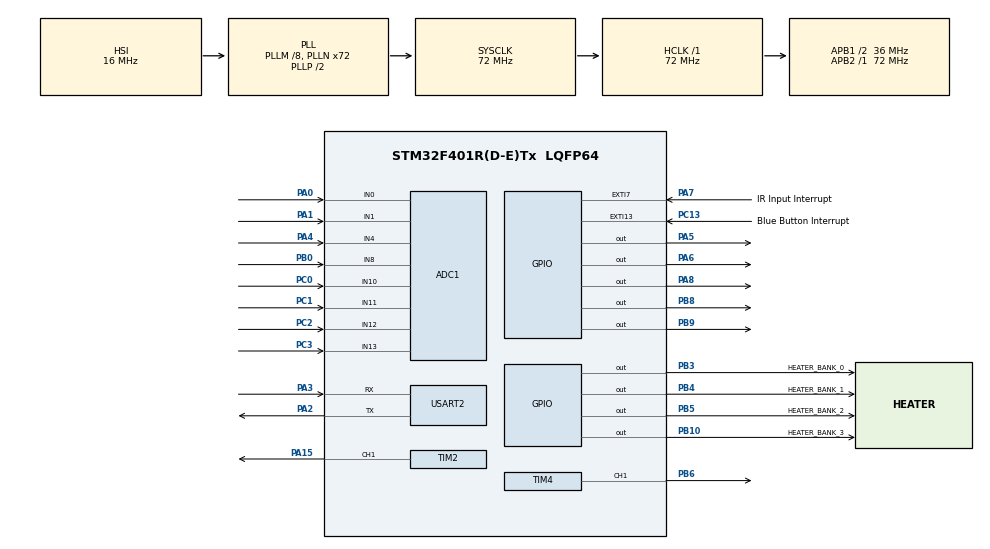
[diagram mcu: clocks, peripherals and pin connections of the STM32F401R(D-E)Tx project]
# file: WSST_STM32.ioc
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ADC1.Channel-0\#ChannelRegularConversion=ADC_CHANNEL_0
ADC1.Channel-1\#ChannelRegularConversion=ADC_CHANNEL_1
ADC1.Channel-2\#ChannelRegularConversion=ADC_CHANNEL_4
ADC1.Channel-3\#ChannelRegularConversion=ADC_CHANNEL_8
ADC1.Channel-4\#ChannelRegularConversion=ADC_CHANNEL_10
ADC1.Channel-5\#ChannelRegularConversion=ADC_CHANNEL_11
ADC1.Channel-6\#ChannelRegularConversion=ADC_CHANNEL_12
ADC1.Channel-7\#ChannelRegularConversion=ADC_CHANNEL_13
ADC1.DiscontinuousConvMode=ENABLE
ADC1.InjNumberOfConversion=0
ADC1.NbrOfConversion=8
ADC1.NbrOfConversionFlag=1
ADC1.Rank-0\#ChannelRegularConversion=1
ADC1.Rank-1\#ChannelRegularConversion=2
ADC1.Rank-2\#ChannelRegularConversion=3
ADC1.Rank-3\#ChannelRegularConversion=4
ADC1.Rank-4\#ChannelRegularConversion=5
ADC1.Rank-5\#ChannelRegularConversion=6
ADC1.Rank-6\#ChannelRegularConversion=7
ADC1.Rank-7\#ChannelRegularConversion=8
ADC1.SamplingTime-0\#ChannelRegularConversion=ADC_SAMPLETIME_3CYCLES
ADC1.SamplingTime-1\#ChannelRegularConversion=ADC_SAMPLETIME_3CYCLES
ADC1.SamplingTime-2\#ChannelRegularConversion=ADC_SAMPLETIME_3CYCLES
ADC1.SamplingTime-3\#ChannelRegularConversion=ADC_SAMPLETIME_3CYCLES
ADC1.SamplingTime-4\#ChannelRegularConversion=ADC_SAMPLETIME_3CYCLES
ADC1.SamplingTime-5\#ChannelRegularConversion=ADC_SAMPLETIME_3CYCLES
ADC1.SamplingTime-6\#ChannelRegularConversion=ADC_SAMPLETIME_3CYCLES
ADC1.SamplingTime-7\#ChannelRegularConversion=ADC_SAMPLETIME_3CYCLES
ADC1.ScanConvMode=ENABLE
ADC1.master=1
FREERTOS.Tasks01=defaultTask,0,128,StartDefaultTask,Default,NULL,Dynamic,NULL,NULL;readSensors,0,128,startReadSensors,Default,NULL,Dynamic,NULL,NULL;bangBangControl,3,128,StartBangBangControl,Default,NULL,Dynamic,NULL,NULL;communicationTa,0,1024,StartComTask,Default,NULL,Dynamic,NULL,NULL;motorTask,0,128,startMotorTask,Default,NULL,Dynamic,NULL,NULL;messageHanldlerTask,0,256,StartMessageHandlerTask,Default,NULL,Dynamic,NULL,NULL
FREERTOS.configENABLE_FPU=1
FREERTOS.configMAX_TASK_NAME_LEN=32
FREERTOS.configUSE_NEWLIB_REENTRANT=1
Mcu.Family=STM32F4
Mcu.Name=STM32F401R(D-E)Tx
Mcu.Package=LQFP64
NVIC.EXTI15_10_IRQn=true\:5\:0\:false\:false\:true\:true\:true\:true\:true
NVIC.EXTI9_5_IRQn=true\:5\:0\:false\:false\:true\:true\:true\:true\:true
NVIC.PriorityGroup=NVIC_PRIORITYGROUP_4
NVIC.TIM1_UP_TIM10_IRQn=true\:15\:0\:false\:false\:true\:false\:false\:true\:true
NVIC.TimeBase=TIM1_UP_TIM10_IRQn
NVIC.TimeBaseIP=TIM1
NVIC.USART2_IRQn=true\:5\:0\:false\:false\:true\:true\:true\:true\:true
PA0-WKUP.Signal=ADCx_IN0
PA1.Signal=ADCx_IN1
PA15.Signal=S_TIM2_CH1_ETR
PA2.Mode=Asynchronous
PA2.Signal=USART2_TX
PA3.Mode=Asynchronous
PA3.Signal=USART2_RX
PA4.Signal=ADCx_IN4
PA5.Signal=GPIO_Output
PA6.Signal=GPIO_Output
PA7.GPIO_Label=IR Input Interrupt
PA7.GPIO_ModeDefaultEXTI=GPIO_MODE_IT_FALLING
PA7.GPIO_PuPd=GPIO_PULLUP
PA7.Signal=GPXTI7
PA8.Signal=GPIO_Output
PB0.Signal=ADCx_IN8
PB10.GPIO_Label=HEATER_BANK_3
PB10.Signal=GPIO_Output
PB3.GPIO_Label=HEATER_BANK_0
PB3.Signal=GPIO_Output
PB4.GPIO_Label=HEATER_BANK_1
PB4.Signal=GPIO_Output
PB5.GPIO_Label=HEATER_BANK_2
PB5.Signal=GPIO_Output
PB6.Signal=S_TIM4_CH1
PB8.Signal=GPIO_Output
PB9.Signal=GPIO_Output
PC0.Signal=ADCx_IN10
PC1.Signal=ADCx_IN11
PC13-ANTI_TAMP.GPIO_Label=Blue Button Interrupt
PC13-ANTI_TAMP.GPIO_ModeDefaultEXTI=GPIO_MODE_IT_FALLING
PC13-ANTI_TAMP.GPIO_PuPd=GPIO_PULLUP
PC13-ANTI_TAMP.Signal=GPXTI13
PC2.Signal=ADCx_IN12
PC3.Signal=ADCx_IN13
ProjectManager.HeapSize=0x200
ProjectManager.StackSize=0x400
ProjectManager.TargetToolchain=STM32CubeIDE
RCC.48MHZClocksFreq_Value=36000000
RCC.AHBFreq_Value=72000000
RCC.APB1CLKDivider=RCC_HCLK_DIV2
RCC.APB1Freq_Value=36000000
RCC.APB1TimFreq_Value=72000000
RCC.APB2Freq_Value=72000000
RCC.APB2TimFreq_Value=72000000
RCC.CortexFreq_Value=72000000
RCC.HCLKFreq_Value=72000000
RCC.HSE_VALUE=25000000
RCC.HSI_VALUE=16000000
RCC.LSE_VALUE=32768
RCC.PLLM=8
RCC.PLLN=72
RCC.SYSCLKFreq_VALUE=72000000
RCC.SYSCLKSource=RCC_SYSCLKSOURCE_PLLCLK
RCC.VCOOutputFreq_Value=144000000
SH.ADCx_IN0.0=ADC1_IN0,IN0
SH.ADCx_IN1.0=ADC1_IN1,IN1
SH.ADCx_IN10.0=ADC1_IN10,IN10
SH.ADCx_IN11.0=ADC1_IN11,IN11
SH.ADCx_IN12.0=ADC1_IN12,IN12
SH.ADCx_IN13.0=ADC1_IN13,IN13
SH.ADCx_IN4.0=ADC1_IN4,IN4
SH.ADCx_IN8.0=ADC1_IN8,IN8
SH.S_TIM2_CH1_ETR.0=TIM2_CH1,PWM Generation1 CH1
SH.S_TIM4_CH1.0=TIM4_CH1,PWM Generation1 CH1
TIM2.Channel-PWM\ Generation1\ CH1=TIM_CHANNEL_1
TIM2.Period=999
TIM2.Prescaler=71
TIM4.Channel-PWM\ Generation1\ CH1=TIM_CHANNEL_1
TIM4.Period=255
USART2.VirtualMode=VM_ASYNC
VP_FREERTOS_VS_CMSIS_V1.Mode=CMSIS_V1
VP_SYS_VS_tim1.Mode=TIM1
board=custom

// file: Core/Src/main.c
/* USER CODE BEGIN Header */
/**
  ******************************************************************************
  * @file           : main.c
  * @brief          : Main program body
  ******************************************************************************
  * @attention
  *
  * Copyright (c) 2024 STMicroelectronics.
  * All rights reserved.
  *
  * This software is licensed under terms that can be found in the LICENSE file
  * in the root directory of this software component.
  * If no LICENSE file comes with this software, it is provided AS-IS.
  *
  ******************************************************************************
  */
/* USER CODE END Header */
#include "main.h"
#include "cmsis_os.h"

ADC_HandleTypeDef hadc1;

TIM_HandleTypeDef htim2;
TIM_HandleTypeDef htim4;

UART_HandleTypeDef huart2;

osThreadId defaultTaskHandle;
osThreadId readSensorsHandle;
osThreadId bangBangControlHandle;
osThreadId communicationTaHandle;
osThreadId motorTaskHandle;
osThreadId messageHanldlerTaskHandle;
/* USER CODE BEGIN PV */
uint32_t temp_setpoint;
enum HeaterState heater_state[HEATER_COUNT];
int active_heater_bank = HEATER_BANK_3;
uint16_t active_heater_bank_pin;

uint32_t IR_RPM_interrupt_count = 0;
float centrifuge_RPM[10];
uint32_t rpm_time = 0;
uint32_t prev_rpm_time = 0;
float global_rpm_avg;

float MS_TO_S = 1000;

uint16_t adc_values[HEATER_COUNT];
float temp_values[HEATER_COUNT];

uint8_t tx_buffer[27] = "Testing LED on\n\r";
uint8_t tx_bufferalt[27] = "Testing LED off \n\r";
uint8_t tx_bufferfinal[27] = "Testing brightness \n\r";
uint8_t rx_index;
uint8_t rx_data[2];
uint8_t rx_buffer[100];
int rx_pwmval;
uint8_t transfer_cplt;
/* USER CODE END PV */

void SystemClock_Config(void);
static void MX_GPIO_Init(void);
static void MX_ADC1_Init(void);
static void MX_USART2_UART_Init(void);
static void MX_TIM2_Init(void);
static void MX_TIM4_Init(void);
void StartDefaultTask(void const * argument);
void startReadSensors(void const * argument);
void StartBangBangControl(void const * argument);
void StartComTask(void const * argument);
void startMotorTask(void const * argument);
void StartMessageHandlerTask(void const * argument);

/* USER CODE BEGIN 0 */
void TEST_LED_BRIGHTNESS(void){
	TIM4->CCR1 = 500; // Divide by 1000 to get PWM Duty Cycle
	HAL_TIM_PWM_Start(&htim4, TIM_CHANNEL_1);
	rx_pwmval = atoi(rx_buffer);
	__HAL_TIM_SET_COMPARE(&htim4, TIM_CHANNEL_1, rx_pwmval);
	//rx_pwmval = 0;
	//memset(rx_data, 0, sizeof(rx_data));
}

void TURN_PWM(int val){
	TIM4->CCR1 = 500; // Divide by 1000 to get PWM Duty Cycle

	switch(val){
		case 0:
			HAL_TIM_PWM_Stop(&htim4, TIM_CHANNEL_1);
			__HAL_TIM_SET_COMPARE(&htim4, TIM_CHANNEL_1, 0);
			//HAL_GPIO_WritePin(GPIOA, GPIO_PIN_5, GPIO_PIN_RESET);
	        break;

	    case 1:
	    	HAL_TIM_PWM_Start(&htim4, TIM_CHANNEL_1);
	    	__HAL_TIM_SET_COMPARE(&htim4, TIM_CHANNEL_1, 255);
	    	//HAL_GPIO_WritePin(GPIOA, GPIO_PIN_5, GPIO_PIN_SET);
	        break;
	}
}

void set_setpoint(uint32_t new_setpoint)
{
	temp_setpoint = new_setpoint;
}

void reset_setpoint(void)
{
	temp_setpoint = 0;
}

float thermistor_adc_to_temp_c(uint16_t thermistor_adc_value)
{
	float thermistor_resistance_ohm = (float) THERMISTOR_RESISTOR * ((float) thermistor_adc_value / ((float) 4096 - (float) thermistor_adc_value));

	float thermistor_temp = -(30.21*logf(thermistor_resistance_ohm)) + 137.57;
	return thermistor_temp;
}

void cycle_heater_state(int active_heater)
{
  switch(heater_state[active_heater])
  {
	case OFF:
		heater_state[active_heater] = PRE_HEAT;
		set_setpoint(PRE_HEAT_SETPOINT);
		break;
	case PRE_HEAT:
		heater_state[active_heater] = FULL_HEAT;
		set_setpoint(FULL_HEAT_STOPPOINT);
		break;
	case FULL_HEAT:
		heater_state[active_heater] = OFF;
		reset_setpoint();
		break;
  }
}

void select_active_heater_bank(int active_heater_bank)
{
	switch(active_heater_bank)
	{
		case HEATER_BANK_0:
			active_heater_bank_pin = HEATER_BANK_0_Pin;
			break;
		case HEATER_BANK_1:
			active_heater_bank_pin = HEATER_BANK_1_Pin;
			break;
		case HEATER_BANK_2:
			active_heater_bank_pin = HEATER_BANK_2_Pin;
			break;
		case HEATER_BANK_3:
			active_heater_bank_pin = HEATER_BANK_3_Pin;
			break;
	}
}

void HAL_GPIO_EXTI_Callback(uint16_t GPIO_Pin)
{
  if(GPIO_Pin == GPIO_PIN_13)
  {
	  cycle_heater_state(active_heater_bank);
  }
  else if(GPIO_Pin == GPIO_PIN_7)
  {
//	  rpm_time = HAL_GetTick();
	  IR_RPM_interrupt_count++;
  }
}

void read_and_accumulate_adc_channels()
{
	for(int i = 0; i < HEATER_COUNT; i++)
	{
		HAL_ADC_Start(&hadc1);
		HAL_ADC_PollForConversion(&hadc1, HAL_MAX_DELAY);
		adc_values[i] += HAL_ADC_GetValue(&hadc1);
	}

	HAL_ADC_Stop(&hadc1);
}

void recieve_uart_messages()
{
	//TODO: ADD UART MSSG HANDLING HERE
}

void handle_uart_messages()
{
	//TODO: parse UART messages
}

/* USER CODE END 0 */

int main(void)
{

  /* MCU Configuration--------------------------------------------------------*/

  /* Reset of all peripherals, Initializes the Flash interface and the Systick. */
  HAL_Init();

  /* Configure the system clock */
  SystemClock_Config();

  /* Initialize all configured peripherals */
  MX_GPIO_Init();
  MX_ADC1_Init();
  MX_USART2_UART_Init();
  MX_TIM2_Init();
  MX_TIM4_Init();
  /* USER CODE BEGIN 2 */
  HAL_ADC_Start(&hadc1);

  /* USER CODE END 2 */

  /* Create the thread(s) */
  /* definition and creation of defaultTask */
  osThreadDef(defaultTask, StartDefaultTask, osPriorityNormal, 0, 128);
  defaultTaskHandle = osThreadCreate(osThread(defaultTask), NULL);

  /* definition and creation of readSensors */
  osThreadDef(readSensors, startReadSensors, osPriorityNormal, 0, 128);
  readSensorsHandle = osThreadCreate(osThread(readSensors), NULL);

  /* definition and creation of bangBangControl */
  osThreadDef(bangBangControl, StartBangBangControl, osPriorityRealtime, 0, 128);
  bangBangControlHandle = osThreadCreate(osThread(bangBangControl), NULL);

  /* definition and creation of communicationTa */
  osThreadDef(communicationTa, StartComTask, osPriorityNormal, 0, 1024);
  communicationTaHandle = osThreadCreate(osThread(communicationTa), NULL);

  /* definition and creation of motorTask */
  osThreadDef(motorTask, startMotorTask, osPriorityNormal, 0, 128);
  motorTaskHandle = osThreadCreate(osThread(motorTask), NULL);

  /* definition and creation of messageHanldlerTask */
  osThreadDef(messageHanldlerTask, StartMessageHandlerTask, osPriorityNormal, 0, 256);
  messageHanldlerTaskHandle = osThreadCreate(osThread(messageHanldlerTask), NULL);

  /* Start scheduler */
  osKernelStart();

  /* We should never get here as control is now taken by the scheduler */
  /* Infinite loop */
  while (1)
  {

  }
}

void SystemClock_Config(void)
{
  RCC_OscInitTypeDef RCC_OscInitStruct = {0};
  RCC_ClkInitTypeDef RCC_ClkInitStruct = {0};

  /** Configure the main internal regulator output voltage
  */
  __HAL_RCC_PWR_CLK_ENABLE();
  __HAL_PWR_VOLTAGESCALING_CONFIG(PWR_REGULATOR_VOLTAGE_SCALE2);

  /** Initializes the RCC Oscillators according to the specified parameters
  * in the RCC_OscInitTypeDef structure.
  */
  RCC_OscInitStruct.OscillatorType = RCC_OSCILLATORTYPE_HSI;
  RCC_OscInitStruct.HSIState = RCC_HSI_ON;
  RCC_OscInitStruct.HSICalibrationValue = RCC_HSICALIBRATION_DEFAULT;
  RCC_OscInitStruct.PLL.PLLState = RCC_PLL_ON;
  RCC_OscInitStruct.PLL.PLLSource = RCC_PLLSOURCE_HSI;
  RCC_OscInitStruct.PLL.PLLM = 8;
  RCC_OscInitStruct.PLL.PLLN = 72;
  RCC_OscInitStruct.PLL.PLLP = RCC_PLLP_DIV2;
  RCC_OscInitStruct.PLL.PLLQ = 4;
  if (HAL_RCC_OscConfig(&RCC_OscInitStruct) != HAL_OK)
  {
    Error_Handler();
  }

  /** Initializes the CPU, AHB and APB buses clocks
  */
  RCC_ClkInitStruct.ClockType = RCC_CLOCKTYPE_HCLK|RCC_CLOCKTYPE_SYSCLK
                              |RCC_CLOCKTYPE_PCLK1|RCC_CLOCKTYPE_PCLK2;
  RCC_ClkInitStruct.SYSCLKSource = RCC_SYSCLKSOURCE_PLLCLK;
  RCC_ClkInitStruct.AHBCLKDivider = RCC_SYSCLK_DIV1;
  RCC_ClkInitStruct.APB1CLKDivider = RCC_HCLK_DIV2;
  RCC_ClkInitStruct.APB2CLKDivider = RCC_HCLK_DIV1;

  if (HAL_RCC_ClockConfig(&RCC_ClkInitStruct, FLASH_LATENCY_2) != HAL_OK)
  {
    Error_Handler();
  }
}

static void MX_ADC1_Init(void)
{

  ADC_ChannelConfTypeDef sConfig = {0};

  /** Configure the global features of the ADC (Clock, Resolution, Data Alignment and number of conversion)
  */
  hadc1.Instance = ADC1;
  hadc1.Init.ClockPrescaler = ADC_CLOCK_SYNC_PCLK_DIV2;
  hadc1.Init.Resolution = ADC_RESOLUTION_12B;
  hadc1.Init.ScanConvMode = ENABLE;
  hadc1.Init.ContinuousConvMode = DISABLE;
  hadc1.Init.DiscontinuousConvMode = ENABLE;
  hadc1.Init.NbrOfDiscConversion = 1;
  hadc1.Init.ExternalTrigConvEdge = ADC_EXTERNALTRIGCONVEDGE_NONE;
  hadc1.Init.ExternalTrigConv = ADC_SOFTWARE_START;
  hadc1.Init.DataAlign = ADC_DATAALIGN_RIGHT;
  hadc1.Init.NbrOfConversion = 8;
  hadc1.Init.DMAContinuousRequests = DISABLE;
  hadc1.Init.EOCSelection = ADC_EOC_SINGLE_CONV;
  if (HAL_ADC_Init(&hadc1) != HAL_OK)
  {
    Error_Handler();
  }

  /** Configure for the selected ADC regular channel its corresponding rank in the sequencer and its sample time.
  */
  sConfig.Channel = ADC_CHANNEL_0;
  sConfig.Rank = 1;
  sConfig.SamplingTime = ADC_SAMPLETIME_3CYCLES;
  if (HAL_ADC_ConfigChannel(&hadc1, &sConfig) != HAL_OK)
  {
    Error_Handler();
  }

  /** Configure for the selected ADC regular channel its corresponding rank in the sequencer and its sample time.
  */
  sConfig.Channel = ADC_CHANNEL_1;
  sConfig.Rank = 2;
  if (HAL_ADC_ConfigChannel(&hadc1, &sConfig) != HAL_OK)
  {
    Error_Handler();
  }

  /** Configure for the selected ADC regular channel its corresponding rank in the sequencer and its sample time.
  */
  sConfig.Channel = ADC_CHANNEL_4;
  sConfig.Rank = 3;
  if (HAL_ADC_ConfigChannel(&hadc1, &sConfig) != HAL_OK)
  {
    Error_Handler();
  }

  /** Configure for the selected ADC regular channel its corresponding rank in the sequencer and its sample time.
  */
  sConfig.Channel = ADC_CHANNEL_8;
  sConfig.Rank = 4;
  if (HAL_ADC_ConfigChannel(&hadc1, &sConfig) != HAL_OK)
  {
    Error_Handler();
  }

  /** Configure for the selected ADC regular channel its corresponding rank in the sequencer and its sample time.
  */
  sConfig.Channel = ADC_CHANNEL_10;
  sConfig.Rank = 5;
  if (HAL_ADC_ConfigChannel(&hadc1, &sConfig) != HAL_OK)
  {
    Error_Handler();
  }

  /** Configure for the selected ADC regular channel its corresponding rank in the sequencer and its sample time.
  */
  sConfig.Channel = ADC_CHANNEL_11;
  sConfig.Rank = 6;
  if (HAL_ADC_ConfigChannel(&hadc1, &sConfig) != HAL_OK)
  {
    Error_Handler();
  }

  /** Configure for the selected ADC regular channel its corresponding rank in the sequencer and its sample time.
  */
  sConfig.Channel = ADC_CHANNEL_12;
  sConfig.Rank = 7;
  if (HAL_ADC_ConfigChannel(&hadc1, &sConfig) != HAL_OK)
  {
    Error_Handler();
  }

  /** Configure for the selected ADC regular channel its corresponding rank in the sequencer and its sample time.
  */
  sConfig.Channel = ADC_CHANNEL_13;
  sConfig.Rank = 8;
  if (HAL_ADC_ConfigChannel(&hadc1, &sConfig) != HAL_OK)
  {
    Error_Handler();
  }

}

static void MX_TIM2_Init(void)
{

  TIM_MasterConfigTypeDef sMasterConfig = {0};
  TIM_OC_InitTypeDef sConfigOC = {0};

  htim2.Instance = TIM2;
  htim2.Init.Prescaler = 71;
  htim2.Init.CounterMode = TIM_COUNTERMODE_UP;
  htim2.Init.Period = 999;
  htim2.Init.ClockDivision = TIM_CLOCKDIVISION_DIV1;
  htim2.Init.AutoReloadPreload = TIM_AUTORELOAD_PRELOAD_DISABLE;
  if (HAL_TIM_PWM_Init(&htim2) != HAL_OK)
  {
    Error_Handler();
  }
  sMasterConfig.MasterOutputTrigger = TIM_TRGO_RESET;
  sMasterConfig.MasterSlaveMode = TIM_MASTERSLAVEMODE_DISABLE;
  if (HAL_TIMEx_MasterConfigSynchronization(&htim2, &sMasterConfig) != HAL_OK)
  {
    Error_Handler();
  }
  sConfigOC.OCMode = TIM_OCMODE_PWM1;
  sConfigOC.Pulse = 0;
  sConfigOC.OCPolarity = TIM_OCPOLARITY_HIGH;
  sConfigOC.OCFastMode = TIM_OCFAST_DISABLE;
  if (HAL_TIM_PWM_ConfigChannel(&htim2, &sConfigOC, TIM_CHANNEL_1) != HAL_OK)
  {
    Error_Handler();
  }
  HAL_TIM_MspPostInit(&htim2);

}

static void MX_TIM4_Init(void)
{

  TIM_MasterConfigTypeDef sMasterConfig = {0};
  TIM_OC_InitTypeDef sConfigOC = {0};

  htim4.Instance = TIM4;
  htim4.Init.Prescaler = 0;
  htim4.Init.CounterMode = TIM_COUNTERMODE_UP;
  htim4.Init.Period = 255;
  htim4.Init.ClockDivision = TIM_CLOCKDIVISION_DIV1;
  htim4.Init.AutoReloadPreload = TIM_AUTORELOAD_PRELOAD_DISABLE;
  if (HAL_TIM_PWM_Init(&htim4) != HAL_OK)
  {
    Error_Handler();
  }
  sMasterConfig.MasterOutputTrigger = TIM_TRGO_RESET;
  sMasterConfig.MasterSlaveMode = TIM_MASTERSLAVEMODE_DISABLE;
  if (HAL_TIMEx_MasterConfigSynchronization(&htim4, &sMasterConfig) != HAL_OK)
  {
    Error_Handler();
  }
  sConfigOC.OCMode = TIM_OCMODE_PWM1;
  sConfigOC.Pulse = 0;
  sConfigOC.OCPolarity = TIM_OCPOLARITY_HIGH;
  sConfigOC.OCFastMode = TIM_OCFAST_DISABLE;
  if (HAL_TIM_PWM_ConfigChannel(&htim4, &sConfigOC, TIM_CHANNEL_1) != HAL_OK)
  {
    Error_Handler();
  }
  HAL_TIM_MspPostInit(&htim4);

}

static void MX_USART2_UART_Init(void)
{

  huart2.Instance = USART2;
  huart2.Init.BaudRate = 115200;
  huart2.Init.WordLength = UART_WORDLENGTH_8B;
  huart2.Init.StopBits = UART_STOPBITS_1;
  huart2.Init.Parity = UART_PARITY_NONE;
  huart2.Init.Mode = UART_MODE_TX_RX;
  huart2.Init.HwFlowCtl = UART_HWCONTROL_NONE;
  huart2.Init.OverSampling = UART_OVERSAMPLING_16;
  if (HAL_UART_Init(&huart2) != HAL_OK)
  {
    Error_Handler();
  }

}

static void MX_GPIO_Init(void)
{
  GPIO_InitTypeDef GPIO_InitStruct = {0};

  /* GPIO Ports Clock Enable */
  __HAL_RCC_GPIOC_CLK_ENABLE();
  __HAL_RCC_GPIOA_CLK_ENABLE();
  __HAL_RCC_GPIOB_CLK_ENABLE();

  /*Configure GPIO pin Output Level */
  HAL_GPIO_WritePin(GPIOA, GPIO_PIN_5|GPIO_PIN_6|GPIO_PIN_8, GPIO_PIN_RESET);

  /*Configure GPIO pin Output Level */
  HAL_GPIO_WritePin(GPIOB, HEATER_BANK_3_Pin|HEATER_BANK_0_Pin|HEATER_BANK_1_Pin|HEATER_BANK_2_Pin
                          |GPIO_PIN_8|GPIO_PIN_9, GPIO_PIN_RESET);

  /*Configure GPIO pin : Blue_Button_Interrupt_Pin */
  GPIO_InitStruct.Pin = Blue_Button_Interrupt_Pin;
  GPIO_InitStruct.Mode = GPIO_MODE_IT_FALLING;
  GPIO_InitStruct.Pull = GPIO_PULLUP;
  HAL_GPIO_Init(Blue_Button_Interrupt_GPIO_Port, &GPIO_InitStruct);

  /*Configure GPIO pins : PA5 PA6 PA8 */
  GPIO_InitStruct.Pin = GPIO_PIN_5|GPIO_PIN_6|GPIO_PIN_8;
  GPIO_InitStruct.Mode = GPIO_MODE_OUTPUT_PP;
  GPIO_InitStruct.Pull = GPIO_NOPULL;
  GPIO_InitStruct.Speed = GPIO_SPEED_FREQ_LOW;
  HAL_GPIO_Init(GPIOA, &GPIO_InitStruct);

  /*Configure GPIO pin : IR_Input_Interrupt_Pin */
  GPIO_InitStruct.Pin = IR_Input_Interrupt_Pin;
  GPIO_InitStruct.Mode = GPIO_MODE_IT_FALLING;
  GPIO_InitStruct.Pull = GPIO_PULLUP;
  HAL_GPIO_Init(IR_Input_Interrupt_GPIO_Port, &GPIO_InitStruct);

  /*Configure GPIO pins : HEATER_BANK_3_Pin HEATER_BANK_0_Pin HEATER_BANK_1_Pin HEATER_BANK_2_Pin
                           PB8 PB9 */
  GPIO_InitStruct.Pin = HEATER_BANK_3_Pin|HEATER_BANK_0_Pin|HEATER_BANK_1_Pin|HEATER_BANK_2_Pin
                          |GPIO_PIN_8|GPIO_PIN_9;
  GPIO_InitStruct.Mode = GPIO_MODE_OUTPUT_PP;
  GPIO_InitStruct.Pull = GPIO_NOPULL;
  GPIO_InitStruct.Speed = GPIO_SPEED_FREQ_LOW;
  HAL_GPIO_Init(GPIOB, &GPIO_InitStruct);

  /* EXTI interrupt init*/
  HAL_NVIC_SetPriority(EXTI9_5_IRQn, 5, 0);
  HAL_NVIC_EnableIRQ(EXTI9_5_IRQn);

  HAL_NVIC_SetPriority(EXTI15_10_IRQn, 5, 0);
  HAL_NVIC_EnableIRQ(EXTI15_10_IRQn);

/* USER CODE BEGIN MX_GPIO_Init_2 */
  HAL_GPIO_WritePin(GPIOB, GPIO_PIN_8, GPIO_PIN_SET);
  HAL_GPIO_WritePin(GPIOB, GPIO_PIN_9, GPIO_PIN_RESET);
/* USER CODE END MX_GPIO_Init_2 */
}

/* USER CODE BEGIN 4 */
void HAL_UART_RxCpltCallback(UART_HandleTypeDef *huart)
{
  /* Prevent unused argument(s) compilation warning */
  UNUSED(huart);
  /* NOTE: This function should not be modified, when the callback is needed,
           the HAL_UART_TxCpltCallback could be implemented in the user file
   */
  uint8_t i;
  if (huart->Instance == USART2){
	  if(rx_index == 0){
		  for(i=0;i<100;i++){
			  rx_buffer[i]= 0;
			  HAL_GPIO_WritePin(GPIOB, GPIO_PIN_6, GPIO_PIN_RESET);
		  }
	  }
	  if (rx_data[0] != 13){
		  rx_buffer[rx_index++] = rx_data[0];
	  }
	  else{
		  rx_index = 0;
		  transfer_cplt = 1;
		  HAL_UART_Transmit(&huart2, "\n\r", 2,100);
		  if(!strcmp(rx_buffer, "LED ON")){ //checking if input buffer indicates to turn LED on
			  TURN_PWM(1);
			  HAL_UART_Transmit(&huart2, tx_buffer, 27, 10);

			  //HAL_TIM_PWM_Start(&htim2, TIM_CHANNEL_1);
			  //HAL_GPIO_WritePin(GPIOA, GPIO_PIN_5, GPIO_PIN_SET);
			  //ADD IN CODE FOR PWM HERE
		  }
		  if(!strcmp(rx_buffer, "LED OFF")){ //checking if input buffer indicates to turn LED on
		  	 TURN_PWM(0);
		  	 HAL_UART_Transmit(&huart2, tx_bufferalt, 27, 10);

		  			  //HAL_TIM_PWM_Start(&htim2, TIM_CHANNEL_1);
		  			  //HAL_GPIO_WritePin(GPIOA, GPIO_PIN_5, GPIO_PIN_SET);
		  			  //ADD IN CODE FOR PWM HERE
		  }
		  if (strlen(rx_buffer) <= 3){
			 TEST_LED_BRIGHTNESS();
			 HAL_UART_Transmit(&huart2, tx_bufferfinal, 27, 10);

		  }

	  }

	  HAL_UART_Receive_IT(&huart2, rx_data, 1);
	  HAL_UART_Transmit(&huart2, rx_data, strlen(rx_data), 100);

  }

//  HAL_UART_Transmit(&huart2, rx_data, 6, 10);
}

/* USER CODE END 4 */

void StartDefaultTask(void const * argument)
{
  /* USER CODE BEGIN 5 */
  reset_setpoint();
  select_active_heater_bank(active_heater_bank);
  /* Infinite loop */
  for(;;)
  {
    osDelay(10000);
  }
  /* USER CODE END 5 */
}

void startReadSensors(void const * argument)
{
  /* USER CODE BEGIN startReadSensors */
  int oversample_count_max = 10;
  int oversample_count = 0;

  /* Infinite loop */
  // add switch case here for reading ADC channels
  for(;;)
  {
	read_and_accumulate_adc_channels();
	oversample_count++;

	if(oversample_count == oversample_count_max)
	{
		oversample_count = 0;
		for(int i = 0; i < HEATER_COUNT; i++)
		{
			adc_values[i] = adc_values[i]/oversample_count_max;
			temp_values[i] = thermistor_adc_to_temp_c(adc_values[i]);
			adc_values[i] = 0;
		}
	}
    osDelay(1);
  }
  /* USER CODE END startReadSensors */
}

void StartBangBangControl(void const * argument)
{
  /* USER CODE BEGIN StartBangBangControl */
  TIM2->CCR1 = 500; // Divide by 1000 to get PWM Duty Cycle
  HAL_TIM_PWM_Start(&htim2, TIM_CHANNEL_1);
//  HAL_GPIO_WritePin(GPIOA, GPIO_PIN_8, GPIO_PIN_SET); // D7 on board

  /* Infinite loop */
  for(;;)
  {
	if(heater_state[active_heater_bank] == PRE_HEAT)
	{
		if(temp_values[active_heater_bank] < temp_setpoint - PRE_HEAT_DEADBAND)
		{
			HAL_GPIO_WritePin(GPIOA, GPIO_PIN_5, GPIO_PIN_SET);
			HAL_GPIO_WritePin(GPIOB, active_heater_bank_pin, GPIO_PIN_SET);
		}
		else
		{
			HAL_GPIO_WritePin(GPIOA, GPIO_PIN_5, GPIO_PIN_RESET);
			HAL_GPIO_WritePin(GPIOB, active_heater_bank_pin, GPIO_PIN_RESET);
		}
	}
	else if(heater_state[active_heater_bank] == FULL_HEAT)
	{
		if(temp_values[active_heater_bank] < FULL_HEAT_STOPPOINT)
		{
			HAL_GPIO_WritePin(GPIOA, GPIO_PIN_5, GPIO_PIN_SET);
			HAL_GPIO_WritePin(GPIOB, active_heater_bank_pin, GPIO_PIN_SET); // D12 on board
		}
		else
		{
			HAL_GPIO_WritePin(GPIOA, GPIO_PIN_5, GPIO_PIN_RESET);
			HAL_GPIO_WritePin(GPIOB, active_heater_bank_pin, GPIO_PIN_RESET);
			heater_state[active_heater_bank] = OFF;
		}
	}
	else
	{
		HAL_GPIO_WritePin(GPIOA, GPIO_PIN_5, GPIO_PIN_RESET);
		HAL_GPIO_WritePin(GPIOB, active_heater_bank_pin, GPIO_PIN_RESET);
	}
	osDelay(100);
  }
  /* USER CODE END StartBangBangControl */
}

void StartComTask(void const * argument)
{
  /* USER CODE BEGIN StartComTask */

  /* Infinite loop */
  for(;;)
  {
	recieve_uart_messages();

	char buf[512];
	sprintf(buf, "T0(C): %f // T1(C): %f // T2(C): %f // T3(C): %f // T4(C): %f // T5(C): %f // "
			"T6(C): %f // T7(C): %f // State: %d // RPM: %f\r\n", temp_values[0], temp_values[1],
			temp_values[2], temp_values[3], temp_values[4], temp_values[5], temp_values[6],
			temp_values[7], heater_state[active_heater_bank], global_rpm_avg);
	HAL_UART_Transmit(&huart2, buf, strlen(buf), HAL_MAX_DELAY);

    osDelay(200);
  }
  /* USER CODE END StartComTask */
}

void startMotorTask(void const * argument)
{
  /* USER CODE BEGIN startMotorTask */
  int i = 0;
  float rpm_avg = 0;
  HAL_GPIO_WritePin(GPIOB, GPIO_PIN_8, GPIO_PIN_SET);

      // To set PC7 high
  HAL_GPIO_WritePin(GPIOB, GPIO_PIN_9, GPIO_PIN_RESET);

  HAL_UART_Receive_IT(&huart2, rx_data, 1); //global interrupt when byte recieved

  /* Infinite loop */
  for(;;)
  {
	rpm_time = HAL_GetTick();
	float time_delta = ((float) rpm_time - (float) prev_rpm_time)/MS_TO_S;
	centrifuge_RPM[i] = ((IR_RPM_interrupt_count/time_delta)*60)/8;
	IR_RPM_interrupt_count = 0;
	prev_rpm_time = rpm_time;

	rpm_avg = 0;

	for(int index = 0; index < 10; index++)
	{
		rpm_avg += centrifuge_RPM[index];
	}

	global_rpm_avg = (rpm_avg/10);

	i = (i+1) % 10;

    osDelay(100);
  }
  /* USER CODE END startMotorTask */
}

void StartMessageHandlerTask(void const * argument)
{
  /* USER CODE BEGIN StartMessageHandlerTask */
  /* Infinite loop */
  for(;;)
  {
	handle_uart_messages();

    osDelay(100);
  }
  /* USER CODE END StartMessageHandlerTask */
}

void HAL_TIM_PeriodElapsedCallback(TIM_HandleTypeDef *htim)
{
  if (htim->Instance == TIM1) {
    HAL_IncTick();
  }
}

void Error_Handler(void)
{
  /* USER CODE BEGIN Error_Handler_Debug */
  /* User can add his own implementation to report the HAL error return state */
  __disable_irq();
  char buf[64];
  sprintf(buf, "BRUH MOMENT");

  HAL_UART_Transmit(&huart2, buf, strlen(buf), HAL_MAX_DELAY);
  while (1)
  {
  }
  /* USER CODE END Error_Handler_Debug */
}
